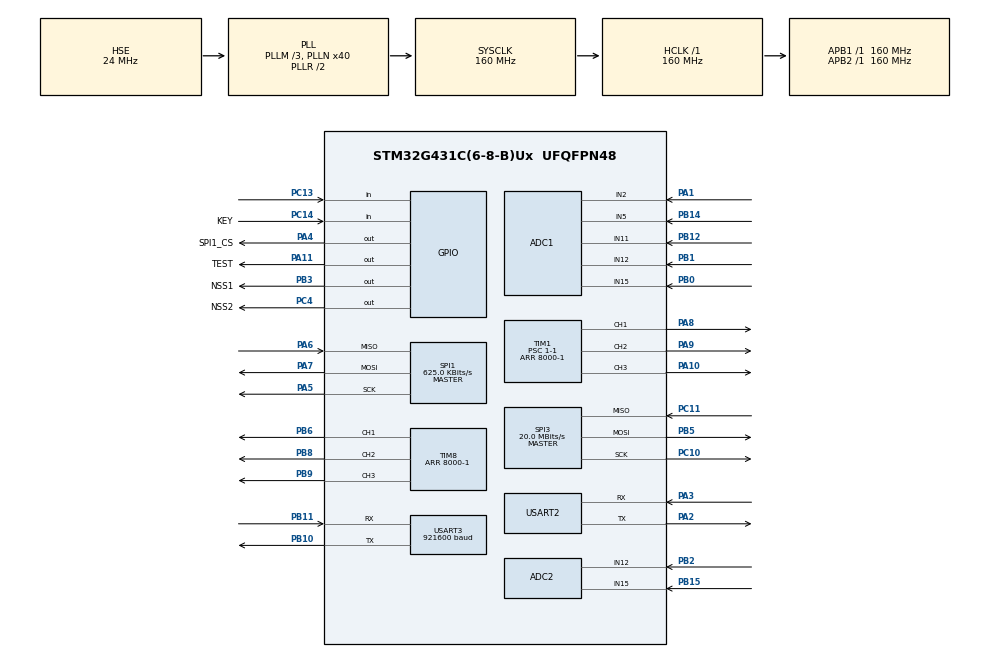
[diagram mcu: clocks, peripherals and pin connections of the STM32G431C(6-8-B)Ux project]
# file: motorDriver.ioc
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ADC1.Channel-0\#ChannelRegularConversion=ADC_CHANNEL_2
ADC1.ClockPrescaler=ADC_CLOCK_ASYNC_DIV4
ADC1.EnableInjectedConversion=ENABLE
ADC1.ExternalTrigInjecConv=ADC_EXTERNALTRIGINJEC_T8_CC4
ADC1.InjNumberOfConversion=3
ADC1.InjectedChannel-1\#ChannelInjectedConversion=ADC_CHANNEL_12
ADC1.InjectedChannel-2\#ChannelInjectedConversion=ADC_CHANNEL_15
ADC1.InjectedChannel-3\#ChannelInjectedConversion=ADC_CHANNEL_11
ADC1.InjectedOffsetNumber-1\#ChannelInjectedConversion=ADC_OFFSET_NONE
ADC1.InjectedOffsetNumber-2\#ChannelInjectedConversion=ADC_OFFSET_NONE
ADC1.InjectedOffsetNumber-3\#ChannelInjectedConversion=ADC_OFFSET_NONE
ADC1.InjectedRank-1\#ChannelInjectedConversion=1
ADC1.InjectedRank-2\#ChannelInjectedConversion=2
ADC1.InjectedRank-3\#ChannelInjectedConversion=3
ADC1.InjectedSamplingTime-1\#ChannelInjectedConversion=ADC_SAMPLETIME_6CYCLES_5
ADC1.InjectedSamplingTime-2\#ChannelInjectedConversion=ADC_SAMPLETIME_6CYCLES_5
ADC1.InjectedSamplingTime-3\#ChannelInjectedConversion=ADC_SAMPLETIME_6CYCLES_5
ADC1.NbrOfConversion=1
ADC1.NbrOfConversionFlag=1
ADC1.OffsetNumber-0\#ChannelRegularConversion=ADC_OFFSET_NONE
ADC1.Rank-0\#ChannelRegularConversion=1
ADC1.Rank2_Channel=ADC_CHANNEL_15
ADC1.Rank3_Channel=ADC_CHANNEL_11
ADC1.SamplingTime-0\#ChannelRegularConversion=ADC_SAMPLETIME_2CYCLES_5
ADC1.injectedQueueMode=DISABLE
ADC1.master=1
ADC2.ClockPrescaler=ADC_CLOCK_ASYNC_DIV4
ADC2.EnableInjectedConversion=ENABLE
ADC2.EnableRegularConversion=DISABLE
ADC2.ExternalTrigInjecConv=ADC_EXTERNALTRIGINJEC_T8_CC4
ADC2.InjNumberOfConversion=1
ADC2.InjectedChannel-0\#ChannelInjectedConversion=ADC_CHANNEL_15
ADC2.InjectedOffsetNumber-0\#ChannelInjectedConversion=ADC_OFFSET_NONE
ADC2.InjectedRank-0\#ChannelInjectedConversion=1
ADC2.InjectedSamplingTime-0\#ChannelInjectedConversion=ADC_SAMPLETIME_6CYCLES_5
ADC2.Rank1_Channel=ADC_CHANNEL_15
COMP1.TriggerMode=COMP_TRIGGERMODE_IT_RISING
COMP4.TriggerMode=COMP_TRIGGERMODE_IT_RISING
DAC3.DAC_Channel-DAC_OUT2_Int=DAC_CHANNEL_2
Dma.Request0=USART3_TX
Dma.Request1=USART3_RX
Dma.Request2=USART2_RX
Dma.Request3=USART2_TX
Dma.USART2_RX.2.Direction=DMA_PERIPH_TO_MEMORY
Dma.USART2_RX.2.EventEnable=DISABLE
Dma.USART2_RX.2.Instance=DMA1_Channel3
Dma.USART2_RX.2.MemDataAlignment=DMA_MDATAALIGN_BYTE
Dma.USART2_RX.2.MemInc=DMA_MINC_ENABLE
Dma.USART2_RX.2.Mode=DMA_NORMAL
Dma.USART2_RX.2.PeriphDataAlignment=DMA_PDATAALIGN_BYTE
Dma.USART2_RX.2.PeriphInc=DMA_PINC_DISABLE
Dma.USART2_RX.2.Polarity=HAL_DMAMUX_REQ_GEN_RISING
Dma.USART2_RX.2.Priority=DMA_PRIORITY_LOW
Dma.USART2_RX.2.RequestNumber=1
Dma.USART2_RX.2.SignalID=NONE
Dma.USART2_RX.2.SyncEnable=DISABLE
Dma.USART2_RX.2.SyncPolarity=HAL_DMAMUX_SYNC_NO_EVENT
Dma.USART2_RX.2.SyncRequestNumber=1
Dma.USART2_RX.2.SyncSignalID=NONE
Dma.USART2_TX.3.Direction=DMA_MEMORY_TO_PERIPH
Dma.USART2_TX.3.EventEnable=DISABLE
Dma.USART2_TX.3.Instance=DMA1_Channel4
Dma.USART2_TX.3.MemDataAlignment=DMA_MDATAALIGN_BYTE
Dma.USART2_TX.3.MemInc=DMA_MINC_ENABLE
Dma.USART2_TX.3.Mode=DMA_NORMAL
Dma.USART2_TX.3.PeriphDataAlignment=DMA_PDATAALIGN_BYTE
Dma.USART2_TX.3.PeriphInc=DMA_PINC_DISABLE
Dma.USART2_TX.3.Polarity=HAL_DMAMUX_REQ_GEN_RISING
Dma.USART2_TX.3.Priority=DMA_PRIORITY_LOW
Dma.USART2_TX.3.RequestNumber=1
Dma.USART2_TX.3.SignalID=NONE
Dma.USART2_TX.3.SyncEnable=DISABLE
Dma.USART2_TX.3.SyncPolarity=HAL_DMAMUX_SYNC_NO_EVENT
Dma.USART2_TX.3.SyncRequestNumber=1
Dma.USART2_TX.3.SyncSignalID=NONE
Dma.USART3_RX.1.Direction=DMA_PERIPH_TO_MEMORY
Dma.USART3_RX.1.EventEnable=DISABLE
Dma.USART3_RX.1.Instance=DMA1_Channel2
Dma.USART3_RX.1.MemDataAlignment=DMA_MDATAALIGN_BYTE
Dma.USART3_RX.1.MemInc=DMA_MINC_ENABLE
Dma.USART3_RX.1.Mode=DMA_NORMAL
Dma.USART3_RX.1.PeriphDataAlignment=DMA_PDATAALIGN_BYTE
Dma.USART3_RX.1.PeriphInc=DMA_PINC_DISABLE
Dma.USART3_RX.1.Polarity=HAL_DMAMUX_REQ_GEN_RISING
Dma.USART3_RX.1.Priority=DMA_PRIORITY_LOW
Dma.USART3_RX.1.RequestNumber=1
Dma.USART3_RX.1.SignalID=NONE
Dma.USART3_RX.1.SyncEnable=DISABLE
Dma.USART3_RX.1.SyncPolarity=HAL_DMAMUX_SYNC_NO_EVENT
Dma.USART3_RX.1.SyncRequestNumber=1
Dma.USART3_RX.1.SyncSignalID=NONE
Dma.USART3_TX.0.Direction=DMA_MEMORY_TO_PERIPH
Dma.USART3_TX.0.EventEnable=DISABLE
Dma.USART3_TX.0.Instance=DMA1_Channel1
Dma.USART3_TX.0.MemDataAlignment=DMA_MDATAALIGN_BYTE
Dma.USART3_TX.0.MemInc=DMA_MINC_ENABLE
Dma.USART3_TX.0.Mode=DMA_NORMAL
Dma.USART3_TX.0.PeriphDataAlignment=DMA_PDATAALIGN_BYTE
Dma.USART3_TX.0.PeriphInc=DMA_PINC_DISABLE
Dma.USART3_TX.0.Polarity=HAL_DMAMUX_REQ_GEN_RISING
Dma.USART3_TX.0.Priority=DMA_PRIORITY_LOW
Dma.USART3_TX.0.RequestNumber=1
Dma.USART3_TX.0.SignalID=NONE
Dma.USART3_TX.0.SyncEnable=DISABLE
Dma.USART3_TX.0.SyncPolarity=HAL_DMAMUX_SYNC_NO_EVENT
Dma.USART3_TX.0.SyncRequestNumber=1
Dma.USART3_TX.0.SyncSignalID=NONE
Mcu.Family=STM32G4
Mcu.Name=STM32G431C(6-8-B)Ux
Mcu.Package=UFQFPN48
NVIC.ADC1_2_IRQn=true\:0\:0\:true\:false\:true\:true\:true\:true
NVIC.COMP1_2_3_IRQn=true\:0\:0\:false\:false\:true\:false\:true\:true
NVIC.COMP4_IRQn=true\:0\:0\:false\:false\:true\:false\:true\:true
NVIC.DMA1_Channel1_IRQn=true\:1\:0\:true\:false\:true\:false\:true\:true
NVIC.DMA1_Channel2_IRQn=true\:1\:0\:true\:false\:true\:false\:true\:true
NVIC.DMA1_Channel3_IRQn=true\:0\:0\:false\:false\:true\:false\:true\:true
NVIC.DMA1_Channel4_IRQn=true\:0\:0\:false\:false\:true\:false\:true\:true
NVIC.PriorityGroup=NVIC_PRIORITYGROUP_4
NVIC.USART2_IRQn=true\:0\:0\:false\:false\:true\:true\:true\:true
NVIC.USART3_IRQn=true\:1\:0\:true\:false\:true\:true\:true\:true
PA1.Mode=IN2-Single-Ended
PA1.Signal=ADC1_IN2
PA10.Signal=S_TIM1_CH3
PA11.GPIO_Label=TEST
PA11.GPIO_Speed=GPIO_SPEED_FREQ_HIGH
PA11.PinState=GPIO_PIN_SET
PA11.Signal=GPIO_Output
PA13.Mode=Serial_Wire
PA13.Signal=SYS_JTMS-SWDIO
PA14.Mode=Serial_Wire
PA14.Signal=SYS_JTCK-SWCLK
PA2.Mode=Asynchronous
PA2.Signal=USART2_TX
PA3.Mode=Asynchronous
PA3.Signal=USART2_RX
PA4.GPIO_Label=SPI1_CS
PA4.GPIO_Speed=GPIO_SPEED_FREQ_VERY_HIGH
PA4.PinState=GPIO_PIN_SET
PA4.Signal=GPIO_Output
PA5.Mode=Full_Duplex_Master
PA5.Signal=SPI1_SCK
PA6.Mode=Full_Duplex_Master
PA6.Signal=SPI1_MISO
PA7.Mode=Full_Duplex_Master
PA7.Signal=SPI1_MOSI
PA8.Signal=S_TIM1_CH1
PA9.Signal=S_TIM1_CH2
PB0.Signal=SharedAnalog_PB0
PB1.Signal=SharedAnalog_PB1
PB10.Mode=Asynchronous
PB10.Signal=USART3_TX
PB11.Mode=Asynchronous
PB11.Signal=USART3_RX
PB12.Mode=IN11-Single-Ended
PB12.Signal=ADC1_IN11
PB14.Mode=IN5-Single-Ended
PB14.Signal=ADC1_IN5
PB15.Mode=IN15-Single-Ended
PB15.Signal=ADC2_IN15
PB2.Mode=IN12-Single-Ended
PB2.Signal=ADC2_IN12
PB3.GPIO_Label=NSS1
PB3.GPIO_Speed=GPIO_SPEED_FREQ_HIGH
PB3.PinState=GPIO_PIN_SET
PB3.Signal=GPIO_Output
PB5.Mode=Full_Duplex_Master
PB5.Signal=SPI3_MOSI
PB6.Signal=S_TIM8_CH1
PB8-BOOT0.Signal=S_TIM8_CH2
PB9.Signal=S_TIM8_CH3
PC10.Mode=Full_Duplex_Master
PC10.Signal=SPI3_SCK
PC11.Mode=Full_Duplex_Master
PC11.Signal=SPI3_MISO
PC13.Signal=GPIO_Input
PC14-OSC32_IN.GPIO_Label=KEY
PC14-OSC32_IN.GPIO_PuPd=GPIO_PULLUP
PC14-OSC32_IN.Signal=GPIO_Input
PC4.GPIO_Label=NSS2
PC4.GPIO_Speed=GPIO_SPEED_FREQ_HIGH
PC4.PinState=GPIO_PIN_SET
PC4.Signal=GPIO_Output
PF0-OSC_IN.Mode=HSE-External-Oscillator
PF0-OSC_IN.Signal=RCC_OSC_IN
PF1-OSC_OUT.Mode=HSE-External-Oscillator
PF1-OSC_OUT.Signal=RCC_OSC_OUT
ProjectManager.HeapSize=0x200
ProjectManager.StackSize=0x400
ProjectManager.TargetToolchain=STM32CubeIDE
RCC.ADC12Freq_Value=160000000
RCC.AHBFreq_Value=160000000
RCC.APB1Freq_Value=160000000
RCC.APB1TimFreq_Value=160000000
RCC.APB2Freq_Value=160000000
RCC.APB2TimFreq_Value=160000000
RCC.CortexFreq_Value=160000000
RCC.EXTERNAL_CLOCK_VALUE=12288000
RCC.HCLKFreq_Value=160000000
RCC.HSE_VALUE=24000000
RCC.HSI48_VALUE=48000000
RCC.HSI_VALUE=16000000
RCC.LSE_VALUE=32768
RCC.PLLM=RCC_PLLM_DIV3
RCC.PLLN=40
RCC.PLLSourceVirtual=RCC_PLLSOURCE_HSE
RCC.SYSCLKFreq_VALUE=160000000
RCC.SYSCLKSource=RCC_SYSCLKSOURCE_PLLCLK
RCC.USBFreq_Value=160000000
RCC.VCOOutputFreq_Value=320000000
SH.S_TIM1_CH1.0=TIM1_CH1,PWM Generation1 CH1
SH.S_TIM1_CH2.0=TIM1_CH2,PWM Generation2 CH2
SH.S_TIM1_CH3.0=TIM1_CH3,PWM Generation3 CH3
SH.S_TIM8_CH1.0=TIM8_CH1,PWM Generation1 CH1
SH.S_TIM8_CH2.0=TIM8_CH2,PWM Generation2 CH2
SH.S_TIM8_CH3.0=TIM8_CH3,PWM Generation3 CH3
SH.SharedAnalog_PB0.0=ADC1_IN15,IN15-Single-Ended
SH.SharedAnalog_PB0.1=COMP4_INP,INP
SH.SharedAnalog_PB1.0=ADC1_IN12,IN12-Single-Ended
SH.SharedAnalog_PB1.1=COMP1_INP,INP
SPI1.BaudRatePrescaler=SPI_BAUDRATEPRESCALER_256
SPI1.CLKPhase=SPI_PHASE_2EDGE
SPI1.CLKPolarity=SPI_POLARITY_HIGH
SPI1.CalculateBaudRate=625.0 KBits/s
SPI1.DataSize=SPI_DATASIZE_8BIT
SPI1.Direction=SPI_DIRECTION_2LINES
SPI1.Mode=SPI_MODE_MASTER
SPI1.VirtualType=VM_MASTER
SPI3.BaudRatePrescaler=SPI_BAUDRATEPRESCALER_8
SPI3.CLKPhase=SPI_PHASE_2EDGE
SPI3.CalculateBaudRate=20.0 MBits/s
SPI3.DataSize=SPI_DATASIZE_16BIT
SPI3.Direction=SPI_DIRECTION_2LINES
SPI3.Mode=SPI_MODE_MASTER
SPI3.VirtualType=VM_MASTER
STMicroelectronics.X-CUBE-ALGOBUILD.1.3.0.LibraryCcDSPOoLibraryJjDSPOoLibrary=true
TIM1.BreakFilter=2
TIM1.BreakState=TIM_BREAK_ENABLE
TIM1.Channel-PWM\ Generation1\ CH1=TIM_CHANNEL_1
TIM1.Channel-PWM\ Generation2\ CH2=TIM_CHANNEL_2
TIM1.Channel-PWM\ Generation3\ CH3=TIM_CHANNEL_3
TIM1.Channel-PWM\ Generation4\ No\ Output=TIM_CHANNEL_4
TIM1.ClockDivision=TIM_CLOCKDIVISION_DIV2
TIM1.CounterMode=TIM_COUNTERMODE_CENTERALIGNED1
TIM1.OCMode_PWM-PWM\ Generation4\ No\ Output=TIM_OCMODE_PWM2
TIM1.PeriodNoDither=8000-1
TIM1.Prescaler=1-1
TIM1.PulseNoDither_4=8000-2
TIM1.RepetitionCounter=1
TIM1.SourceBRKCOMP1=TIM_BREAKINPUTSOURCE_DISABLE
TIM1.TIM_MasterOutputTrigger=TIM_TRGO_OC4REF
TIM8.BreakFilter=10
TIM8.BreakState=TIM_BREAK_ENABLE
TIM8.Channel-PWM\ Generation1\ CH1=TIM_CHANNEL_1
TIM8.Channel-PWM\ Generation2\ CH2=TIM_CHANNEL_2
TIM8.Channel-PWM\ Generation3\ CH3=TIM_CHANNEL_3
TIM8.Channel-PWM\ Generation4\ No\ Output=TIM_CHANNEL_4
TIM8.ClockDivision=TIM_CLOCKDIVISION_DIV2
TIM8.CounterMode=TIM_COUNTERMODE_CENTERALIGNED1
TIM8.OCMode_PWM-PWM\ Generation4\ No\ Output=TIM_OCMODE_PWM2
TIM8.PeriodNoDither=8000-1
TIM8.PulseNoDither_4=8000-2
TIM8.RepetitionCounter=1
TIM8.SourceBRKCOMP1=TIM_BREAKINPUTSOURCE_ENABLE
TIM8.SourceBRKCOMP4=TIM_BREAKINPUTSOURCE_ENABLE
TIM8.TIM_MasterOutputTrigger=TIM_TRGO_OC4REF
USART2.VirtualMode-Asynchronous=VM_ASYNC
USART3.BaudRate=921600
USART3.VirtualMode-Asynchronous=VM_ASYNC
VP_COMP1_VS_DAC3OUT1.Mode=INM_DAC3OUT1
VP_COMP4_VS_DAC3OUT2.Mode=INM_DAC3OUT2
VP_DAC3_VS_DACI1.Mode=DAC_OUT1_Int
VP_DAC3_VS_DACI2.Mode=DAC_OUT2_Int
VP_STMicroelectronics.X-CUBE-ALGOBUILD_VS_DSPOoLibraryJjLibrary_1.3.0_1.3.0.Mode=DSPOoLibraryJjLibrary
VP_SYS_VS_DBSignals.Mode=DisableDeadBatterySignals
VP_TIM1_VS_ClockSourceINT.Mode=Internal
VP_TIM1_VS_no_output4.Mode=PWM Generation4 No Output
VP_TIM8_VS_ClockSourceINT.Mode=Internal
VP_TIM8_VS_no_output4.Mode=PWM Generation4 No Output
board=custom

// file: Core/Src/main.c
/* USER CODE BEGIN Header */
/**
 ******************************************************************************
 * @file           : main.c
 * @brief          : Main program body
 ******************************************************************************
 * @attention
 *
 * Copyright (c) 2024 STMicroelectronics.
 * All rights reserved.
 *
 * This software is licensed under terms that can be found in the LICENSE file
 * in the root directory of this software component.
 * If no LICENSE file comes with this software, it is provided AS-IS.
 *
 ******************************************************************************
 */
/* USER CODE END Header */
#include "main.h"
#include "adc.h"
#include "comp.h"
#include "dac.h"
#include "dma.h"
#include "spi.h"
#include "tim.h"
#include "usart.h"
#include "gpio.h"

/* USER CODE BEGIN Includes */
#include "comm.h"
#include "userMain.h"
#include "app.h"
/* USER CODE END Includes */

void SystemClock_Config(void);

/* USER CODE BEGIN 0 */
extern DMA_HandleTypeDef hdma_usart2_rx;
extern DMA_HandleTypeDef hdma_usart3_rx;
/* USER CODE END 0 */

int main(void)
{

  /* MCU Configuration--------------------------------------------------------*/

  /* Reset of all peripherals, Initializes the Flash interface and the Systick. */
  HAL_Init();

  /* Configure the system clock */
  SystemClock_Config();

  /* Initialize all configured peripherals */
  MX_GPIO_Init();
  MX_DMA_Init();
  MX_USART3_UART_Init();
  MX_ADC1_Init();
  MX_ADC2_Init();
  MX_TIM1_Init();
  MX_DAC3_Init();
  MX_SPI1_Init();
  MX_TIM8_Init();
  MX_SPI3_Init();
  MX_USART2_UART_Init();
  MX_COMP1_Init();
  MX_COMP4_Init();
  /* USER CODE BEGIN 2 */
  appInit();
#if 1
  HAL_UARTEx_ReceiveToIdle_DMA(&huart2, rxBuffer, sizeof(rxBuffer));
  __HAL_DMA_DISABLE_IT(&hdma_usart2_rx, DMA_IT_HT);
  HAL_UARTEx_ReceiveToIdle_DMA(&huart3, rxBuffer, sizeof(rxBuffer));
  __HAL_DMA_DISABLE_IT(&hdma_usart3_rx, DMA_IT_HT);
  // HAL_UARTEx_ReceiveToIdle_DMA(&huart3, rxBuffer, sizeof(rxBuffer));
  HAL_ADCEx_Calibration_Start(&hadc1, ADC_SINGLE_ENDED);
  HAL_ADCEx_Calibration_Start(&hadc2, ADC_SINGLE_ENDED);
  __HAL_ADC_CLEAR_FLAG(&hadc1, ADC_FLAG_JEOC);
  __HAL_ADC_CLEAR_FLAG(&hadc1, ADC_FLAG_EOC);
  __HAL_ADC_CLEAR_FLAG(&hadc2, ADC_FLAG_JEOC);

  HAL_DAC_SetValue(&hdac3, DAC_CHANNEL_1, DAC_ALIGN_12B_R, 2300);
  HAL_DAC_Start(&hdac3, DAC_CHANNEL_1);
  HAL_COMP_Start(&hcomp1);

  HAL_DAC_SetValue(&hdac3, DAC_CHANNEL_2, DAC_ALIGN_12B_R, 2300);
  HAL_DAC_Start(&hdac3, DAC_CHANNEL_2);
  HAL_COMP_Start(&hcomp4);

  HAL_ADCEx_InjectedStart_IT(&hadc1);
  HAL_ADCEx_InjectedStart(&hadc2);

  HAL_TIM_Base_Start(&htim8);
  HAL_TIM_PWM_Start(&htim8, TIM_CHANNEL_4);
  HAL_TIM_PWM_Start(&htim8, TIM_CHANNEL_1);
  HAL_TIM_PWM_Start(&htim8, TIM_CHANNEL_2);
  HAL_TIM_PWM_Start(&htim8, TIM_CHANNEL_3);

  HAL_TIM_Base_Start(&htim1);
  HAL_TIM_PWM_Start(&htim1, TIM_CHANNEL_4);
  HAL_TIM_PWM_Start(&htim1, TIM_CHANNEL_1);
  HAL_TIM_PWM_Start(&htim1, TIM_CHANNEL_2);
  HAL_TIM_PWM_Start(&htim1, TIM_CHANNEL_3);
#endif
  /* USER CODE END 2 */

  /* Infinite loop */
  while (1)
  {

    /* USER CODE BEGIN 3 */
    userMain();
  }
  /* USER CODE END 3 */
}

void SystemClock_Config(void)
{
  RCC_OscInitTypeDef RCC_OscInitStruct = {0};
  RCC_ClkInitTypeDef RCC_ClkInitStruct = {0};

  /** Configure the main internal regulator output voltage
  */
  HAL_PWREx_ControlVoltageScaling(PWR_REGULATOR_VOLTAGE_SCALE1_BOOST);

  /** Initializes the RCC Oscillators according to the specified parameters
  * in the RCC_OscInitTypeDef structure.
  */
  RCC_OscInitStruct.OscillatorType = RCC_OSCILLATORTYPE_HSE;
  RCC_OscInitStruct.HSEState = RCC_HSE_ON;
  RCC_OscInitStruct.PLL.PLLState = RCC_PLL_ON;
  RCC_OscInitStruct.PLL.PLLSource = RCC_PLLSOURCE_HSE;
  RCC_OscInitStruct.PLL.PLLM = RCC_PLLM_DIV3;
  RCC_OscInitStruct.PLL.PLLN = 40;
  RCC_OscInitStruct.PLL.PLLP = RCC_PLLP_DIV2;
  RCC_OscInitStruct.PLL.PLLQ = RCC_PLLQ_DIV2;
  RCC_OscInitStruct.PLL.PLLR = RCC_PLLR_DIV2;
  if (HAL_RCC_OscConfig(&RCC_OscInitStruct) != HAL_OK)
  {
    Error_Handler();
  }

  /** Initializes the CPU, AHB and APB buses clocks
  */
  RCC_ClkInitStruct.ClockType = RCC_CLOCKTYPE_HCLK|RCC_CLOCKTYPE_SYSCLK
                              |RCC_CLOCKTYPE_PCLK1|RCC_CLOCKTYPE_PCLK2;
  RCC_ClkInitStruct.SYSCLKSource = RCC_SYSCLKSOURCE_PLLCLK;
  RCC_ClkInitStruct.AHBCLKDivider = RCC_SYSCLK_DIV1;
  RCC_ClkInitStruct.APB1CLKDivider = RCC_HCLK_DIV1;
  RCC_ClkInitStruct.APB2CLKDivider = RCC_HCLK_DIV1;

  if (HAL_RCC_ClockConfig(&RCC_ClkInitStruct, FLASH_LATENCY_4) != HAL_OK)
  {
    Error_Handler();
  }
}

void Error_Handler(void)
{
  __disable_irq();
  while (1)
  {
  }
}
